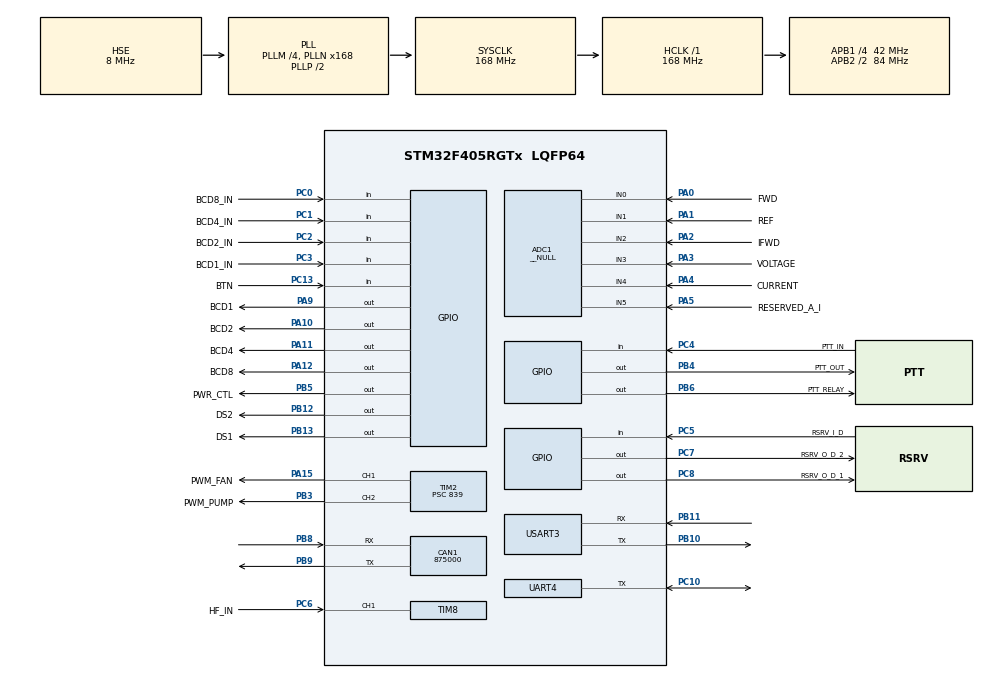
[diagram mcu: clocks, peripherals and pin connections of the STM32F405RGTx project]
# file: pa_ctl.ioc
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ADC1.Channel-0\#ChannelRegularConversion=ADC_CHANNEL_0
ADC1.Channel-5\#ChannelRegularConversion=ADC_CHANNEL_1
ADC1.Channel-6\#ChannelRegularConversion=ADC_CHANNEL_2
ADC1.Channel-7\#ChannelRegularConversion=ADC_CHANNEL_3
ADC1.Channel-8\#ChannelRegularConversion=ADC_CHANNEL_4
ADC1.Channel-9\#ChannelRegularConversion=ADC_CHANNEL_5
ADC1.ContinuousConvMode=ENABLE
ADC1.DMAContinuousRequests=ENABLE
ADC1.Mode=__NULL
ADC1.NbrOfConversion=6
ADC1.NbrOfConversionFlag=1
ADC1.Rank-0\#ChannelRegularConversion=1
ADC1.Rank-5\#ChannelRegularConversion=2
ADC1.Rank-6\#ChannelRegularConversion=3
ADC1.Rank-7\#ChannelRegularConversion=4
ADC1.Rank-8\#ChannelRegularConversion=5
ADC1.Rank-9\#ChannelRegularConversion=6
ADC1.SamplingTime-0\#ChannelRegularConversion=ADC_SAMPLETIME_15CYCLES
ADC1.SamplingTime-5\#ChannelRegularConversion=ADC_SAMPLETIME_15CYCLES
ADC1.SamplingTime-6\#ChannelRegularConversion=ADC_SAMPLETIME_15CYCLES
ADC1.SamplingTime-7\#ChannelRegularConversion=ADC_SAMPLETIME_15CYCLES
ADC1.SamplingTime-8\#ChannelRegularConversion=ADC_SAMPLETIME_15CYCLES
ADC1.SamplingTime-9\#ChannelRegularConversion=ADC_SAMPLETIME_15CYCLES
ADC1.master=1
CAN1.CalculateBaudRate=875000
CAN1.CalculateTimeBit=1142
CAN1.CalculateTimeQuantum=380.95238095238096
Dma.ADC1.0.Direction=DMA_PERIPH_TO_MEMORY
Dma.ADC1.0.FIFOMode=DMA_FIFOMODE_DISABLE
Dma.ADC1.0.Instance=DMA2_Stream0
Dma.ADC1.0.MemDataAlignment=DMA_MDATAALIGN_HALFWORD
Dma.ADC1.0.MemInc=DMA_MINC_ENABLE
Dma.ADC1.0.Mode=DMA_CIRCULAR
Dma.ADC1.0.PeriphDataAlignment=DMA_PDATAALIGN_HALFWORD
Dma.ADC1.0.PeriphInc=DMA_PINC_DISABLE
Dma.ADC1.0.Priority=DMA_PRIORITY_MEDIUM
Dma.Request0=ADC1
Dma.Request1=USART3_RX
Dma.USART3_RX.1.Direction=DMA_PERIPH_TO_MEMORY
Dma.USART3_RX.1.FIFOMode=DMA_FIFOMODE_DISABLE
Dma.USART3_RX.1.Instance=DMA1_Stream1
Dma.USART3_RX.1.MemDataAlignment=DMA_MDATAALIGN_BYTE
Dma.USART3_RX.1.MemInc=DMA_MINC_ENABLE
Dma.USART3_RX.1.Mode=DMA_NORMAL
Dma.USART3_RX.1.PeriphDataAlignment=DMA_PDATAALIGN_BYTE
Dma.USART3_RX.1.PeriphInc=DMA_PINC_DISABLE
Dma.USART3_RX.1.Priority=DMA_PRIORITY_LOW
Mcu.Family=STM32F4
Mcu.Name=STM32F405RGTx
Mcu.Package=LQFP64
NVIC.DMA1_Stream1_IRQn=true\:0\:0\:false\:false\:true\:false\:true\:true
NVIC.DMA2_Stream0_IRQn=true\:0\:0\:false\:false\:true\:false\:true\:true
NVIC.PriorityGroup=NVIC_PRIORITYGROUP_4
NVIC.TIM1_BRK_TIM9_IRQn=true\:0\:0\:false\:false\:true\:true\:true\:true
NVIC.TIM4_IRQn=true\:0\:0\:true\:false\:true\:true\:true\:true
NVIC.TIM5_IRQn=true\:0\:0\:true\:false\:true\:true\:true\:true
NVIC.TIM8_BRK_TIM12_IRQn=true\:0\:0\:true\:false\:true\:true\:true\:true
NVIC.USART3_IRQn=true\:0\:0\:true\:false\:true\:true\:true\:true
PA0-WKUP.GPIO_Label=FWD
PA0-WKUP.Signal=ADCx_IN0
PA1.GPIO_Label=REF
PA1.Signal=ADCx_IN1
PA10.GPIO_Label=BCD2
PA10.Signal=GPIO_Output
PA11.GPIO_Label=BCD4
PA11.Signal=GPIO_Output
PA12.GPIO_Label=BCD8
PA12.Signal=GPIO_Output
PA15.GPIO_Label=PWM_FAN
PA15.Signal=S_TIM2_CH1_ETR
PA2.GPIO_Label=IFWD
PA2.Signal=ADCx_IN2
PA3.GPIO_Label=VOLTAGE
PA3.Signal=ADCx_IN3
PA4.GPIO_Label=CURRENT
PA4.Signal=ADCx_IN4
PA5.GPIO_Label=RESERVED_A_I
PA5.Signal=ADCx_IN5
PA9.GPIO_Label=BCD1
PA9.Signal=GPIO_Output
PB10.Mode=Asynchronous
PB10.Signal=USART3_TX
PB11.Mode=Asynchronous
PB11.Signal=USART3_RX
PB12.GPIO_Label=DS2
PB12.GPIO_ModeDefaultOutputPP=GPIO_MODE_OUTPUT_OD
PB12.GPIO_PuPd=GPIO_NOPULL
PB12.Signal=GPIO_Output
PB13.GPIO_Label=DS1
PB13.GPIO_ModeDefaultOutputPP=GPIO_MODE_OUTPUT_OD
PB13.GPIO_PuPd=GPIO_NOPULL
PB13.Signal=GPIO_Output
PB3.GPIO_Label=PWM_PUMP
PB3.Signal=S_TIM2_CH2
PB4.GPIO_Label=PTT_OUT
PB4.Signal=GPIO_Output
PB5.GPIO_Label=PWR_CTL
PB5.Signal=GPIO_Output
PB6.GPIO_Label=PTT_RELAY
PB6.Signal=GPIO_Output
PB8.Mode=CAN_Activate
PB8.Signal=CAN1_RX
PB9.Mode=CAN_Activate
PB9.Signal=CAN1_TX
PC0.GPIO_Label=BCD8_IN
PC0.Signal=GPIO_Input
PC1.GPIO_Label=BCD4_IN
PC1.Signal=GPIO_Input
PC10.Mode=Half_duplex(single_wire_mode)
PC10.Signal=UART4_TX
PC13-ANTI_TAMP.GPIO_Label=BTN
PC13-ANTI_TAMP.GPIO_PuPd=GPIO_PULLDOWN
PC13-ANTI_TAMP.Signal=GPIO_Input
PC14-OSC32_IN.Mode=LSE-External-Oscillator
PC14-OSC32_IN.Signal=RCC_OSC32_IN
PC15-OSC32_OUT.Mode=LSE-External-Oscillator
PC15-OSC32_OUT.Signal=RCC_OSC32_OUT
PC2.GPIO_Label=BCD2_IN
PC2.Signal=GPIO_Input
PC3.GPIO_Label=BCD1_IN
PC3.Signal=GPIO_Input
PC4.GPIO_Label=PTT_IN
PC4.Signal=GPIO_Input
PC5.GPIO_Label=RSRV_I_D
PC5.Signal=GPIO_Input
PC6.GPIO_Label=HF_IN
PC6.Signal=S_TIM8_CH1
PC7.GPIO_Label=RSRV_O_D_2
PC7.Signal=GPIO_Output
PC8.GPIO_Label=RSRV_O_D_1
PC8.Signal=GPIO_Output
PH0-OSC_IN.Mode=HSE-External-Oscillator
PH0-OSC_IN.Signal=RCC_OSC_IN
PH1-OSC_OUT.Mode=HSE-External-Oscillator
PH1-OSC_OUT.Signal=RCC_OSC_OUT
ProjectManager.HeapSize=0x200
ProjectManager.StackSize=0x400
ProjectManager.TargetToolchain=STM32CubeIDE
RCC.48MHZClocksFreq_Value=48000000
RCC.AHBFreq_Value=168000000
RCC.APB1CLKDivider=RCC_HCLK_DIV4
RCC.APB1Freq_Value=42000000
RCC.APB1TimFreq_Value=84000000
RCC.APB2CLKDivider=RCC_HCLK_DIV2
RCC.APB2Freq_Value=84000000
RCC.APB2TimFreq_Value=168000000
RCC.CortexFreq_Value=168000000
RCC.HCLKFreq_Value=168000000
RCC.HSE_VALUE=8000000
RCC.HSI_VALUE=16000000
RCC.PLLM=4
RCC.PLLN=168
RCC.PLLQ=7
RCC.PLLSourceVirtual=RCC_PLLSOURCE_HSE
RCC.SYSCLKFreq_VALUE=168000000
RCC.SYSCLKSource=RCC_SYSCLKSOURCE_PLLCLK
RCC.VCOOutputFreq_Value=336000000
SH.ADCx_IN0.0=ADC1_IN0,IN0
SH.ADCx_IN1.0=ADC1_IN1,IN1
SH.ADCx_IN2.0=ADC1_IN2,IN2
SH.ADCx_IN3.0=ADC1_IN3,IN3
SH.ADCx_IN4.0=ADC1_IN4,IN4
SH.ADCx_IN5.0=ADC1_IN5,IN5
SH.S_TIM2_CH1_ETR.0=TIM2_CH1,PWM Generation1 CH1
SH.S_TIM2_CH2.0=TIM2_CH2,PWM Generation2 CH2
SH.S_TIM8_CH1.0=TIM8_CH1,TriggerSource_TI1FP1
TIM12.Period=65535
TIM12.Prescaler=83
TIM2.Channel-PWM\ Generation1\ CH1=TIM_CHANNEL_1
TIM2.Channel-PWM\ Generation2\ CH2=TIM_CHANNEL_2
TIM2.Period=9
TIM2.Prescaler=839
TIM3.Period=499
TIM3.Prescaler=83
TIM4.Period=899
TIM4.Prescaler=41999
TIM5.AutoReloadPreload=TIM_AUTORELOAD_PRELOAD_DISABLE
TIM5.Period=3
TIM5.Prescaler=419
TIM9.Prescaler=167
UART4.VirtualMode=Asynchronous
USART3.VirtualMode=VM_ASYNC
VP_TIM12_VS_ClockSourceINT.Mode=Internal
VP_TIM2_VS_ClockSourceINT.Mode=Internal
VP_TIM3_VS_ClockSourceINT.Mode=Internal
VP_TIM4_VS_ClockSourceINT.Mode=Internal
VP_TIM5_VS_ClockSourceINT.Mode=Internal
VP_TIM8_VS_ControllerModeClock.Mode=Clock Mode
VP_TIM9_VS_ClockSourceINT.Mode=Internal
board=custom

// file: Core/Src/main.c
/* USER CODE BEGIN Header */
/**
  ******************************************************************************
  * @file           : main.c
  * @brief          : Main program body
  ******************************************************************************
  * @attention
  *
  * Copyright (c) 2025 STMicroelectronics.
  * All rights reserved.
  *
  * This software is licensed under terms that can be found in the LICENSE file
  * in the root directory of this software component.
  * If no LICENSE file comes with this software, it is provided AS-IS.
  *
  ******************************************************************************
  */
/* USER CODE END Header */
#include "main.h"

/* USER CODE BEGIN Includes */
#include "adc.h"
#include "uart_handler.h"
#include "variables.h"
#include "flash_storage.h"
#include "pwm.h"
#include "process_data.h"
#include "set_functions.h"
#include "frequency_measurement.h"
#include "ds18b20.h"
#include "ow.h"
#include <string.h>

/* USER CODE END Includes */

ADC_HandleTypeDef hadc1;
DMA_HandleTypeDef hdma_adc1;

CAN_HandleTypeDef hcan1;

IWDG_HandleTypeDef hiwdg;

TIM_HandleTypeDef htim2;
TIM_HandleTypeDef htim3;
TIM_HandleTypeDef htim4;
TIM_HandleTypeDef htim5;
TIM_HandleTypeDef htim8;
TIM_HandleTypeDef htim9;
TIM_HandleTypeDef htim12;

UART_HandleTypeDef huart4;
UART_HandleTypeDef huart3;
DMA_HandleTypeDef hdma_usart3_rx;

void SystemClock_Config(void);
static void MX_GPIO_Init(void);
static void MX_DMA_Init(void);
static void MX_ADC1_Init(void);
static void MX_TIM4_Init(void);
static void MX_USART3_UART_Init(void);
static void MX_UART4_Init(void);
static void MX_TIM5_Init(void);
static void MX_TIM3_Init(void);
static void MX_TIM8_Init(void);
static void MX_TIM2_Init(void);
static void MX_TIM12_Init(void);
static void MX_TIM9_Init(void);
static void MX_CAN1_Init(void);
/* USER CODE BEGIN PFP */
static void MX_IWDG_Init(void);
/* USER CODE END PFP */

/* USER CODE BEGIN 0 */

ds18b20_t ds18;
ds18b20_t ds18_w;

#define ZERO_CONFIRM_COUNT 3
static uint8_t plate_zero_count = 0;
static uint8_t water_zero_count = 0;

volatile uint8_t tim4_flag = 0;
volatile uint8_t telemetry_flag = 0;

void HAL_TIM_PeriodElapsedCallback(TIM_HandleTypeDef *htim)
{
    // TIM5 (50 kHz protection tick) is handled by a bare TIM5_IRQHandler in
    // stm32f4xx_it.c that calls process_data() directly — not routed through HAL.
    if (htim->Instance == TIM4)
    {
    	telemetry_flag = 1;
        static uint8_t counter = 0;
        tim4_flag = (counter == 1);
        counter = (counter + 1) % 2;
    }
    if(htim->Instance == TIM9)
    {
    	ow_callback(&ds18.ow);
    }
    if(htim->Instance == TIM12)
    {
    	ow_callback(&ds18_w.ow);
    }
}

static bool confirm_temp(float new_temp, uint8_t *zero_counter)
{
    if (new_temp == 0.0f) {
        (*zero_counter)++;
        if (*zero_counter >= ZERO_CONFIRM_COUNT) {
            return true;
        }
        return false;
    }

    *zero_counter = 0;
    return true;
}
/* USER CODE END 0 */

int main(void)
{

  /* MCU Configuration--------------------------------------------------------*/

  /* Reset of all peripherals, Initializes the Flash interface and the Systick. */
  HAL_Init();

  /* Configure the system clock */
  SystemClock_Config();

  /* Initialize all configured peripherals */
  MX_GPIO_Init();
  MX_DMA_Init();
  MX_ADC1_Init();
  MX_TIM4_Init();
  MX_USART3_UART_Init();
  MX_UART4_Init();
  MX_TIM5_Init();
  MX_TIM3_Init();
  MX_TIM8_Init();
  MX_TIM2_Init();
  MX_TIM12_Init();
  MX_TIM9_Init();
  MX_CAN1_Init();
  /* USER CODE BEGIN 2 */
  HAL_ADC_Start_DMA(&hadc1, (uint32_t*)adc_dma_buffer, 6);
  // Circular DMA keeps adc_dma_buffer fresh on its own. Silence the per-scan
  // transfer-complete / half-transfer interrupts (~130 kHz) — process_data() reads
  // the buffer directly at 50 kHz. Keep TE (transfer error) so DMA faults are caught.
  __HAL_DMA_DISABLE_IT(&hdma_adc1, DMA_IT_TC | DMA_IT_HT);

  // Interrupt priorities (group 4 = 4 preempt bits, 0 sub). The 50 kHz protection
  // loop (TIM5) MUST be able to preempt everything else so its sampling jitter stays
  // bounded — this is a kW amplifier and protection latency is safety-critical.
  //   0 = TIM5 (protection)          highest
  //   1 = TIM9/TIM12 (One-Wire bit timing)
  //   2 = UART / RX-DMA / TIM4 (telemetry & command housekeeping)
  //   3 = ADC DMA (error only)
  HAL_NVIC_SetPriority(TIM5_IRQn,            0, 0);
  HAL_NVIC_SetPriority(TIM1_BRK_TIM9_IRQn,   1, 0);
  HAL_NVIC_SetPriority(TIM8_BRK_TIM12_IRQn,  1, 0);
  HAL_NVIC_SetPriority(USART3_IRQn,          2, 0);
  HAL_NVIC_SetPriority(DMA1_Stream1_IRQn,    2, 0);
  HAL_NVIC_SetPriority(TIM4_IRQn,            2, 0);
  HAL_NVIC_SetPriority(DMA2_Stream0_IRQn,    3, 0);

  Flash_LoadAll();
  strncpy(current_band, default_band, sizeof(current_band));
  current_band[sizeof(current_band) - 1] = '\0';
  current_band_id = band_from_string(current_band);
  set_band_gpio(current_band);
  process_data_on_config_change();

  HAL_TIM_Base_Start_IT(&htim5);
  HAL_TIM_Base_Start_IT(&htim4);

  HAL_TIM_IC_Init(&htim8);

  HAL_TIM_PWM_Start(&htim2, TIM_CHANNEL_1);
  HAL_TIM_PWM_Start(&htim2, TIM_CHANNEL_2);

  //auto_pwm_pump = false;
  //auto_pwm_fan = false;
  //pwm_pump = 10;
  //pwm_cooler = 10;
  //PWM_SetPumpDuty(pwm_pump);
  //PWM_SetFanDuty(pwm_cooler);

  uart_receive_init();
  uart_receive_start();

  //plate temp sensor
  ow_init_t ow_init_struct;
  ow_init_struct.tim_handle = &htim9;
  //ow_init_struct.tim_handle = NULL;
  ow_init_struct.gpio = DS1_GPIO_Port;
  ow_init_struct.pin = DS1_Pin;
  ow_init_struct.tim_cb = NULL;
  ow_init_struct.done_cb = NULL;
  //ow_init_struct.rom_id_filter = DS18B20_ID;
  ds18b20_init(&ds18, &ow_init_struct);

  // Update ROM IDs for all devices
  //ds18b20_update_rom_id(&ds18);
  //while(ds18b20_is_busy(&ds18));

  // Configure alarm thresholds and resolution
  ds18b20_config_t ds18_conf = {
      .alarm_high = 50,
      .alarm_low = -50,
      .cnv_bit = DS18B20_CNV_BIT_12
  };
  ds18b20_conf(&ds18, &ds18_conf);
  while(ds18b20_is_busy(&ds18));

  //water temp sensor
  ow_init_t ow_init_struct_w;
  ow_init_struct_w.tim_handle = &htim12;
  ow_init_struct_w.gpio = DS2_GPIO_Port;
  ow_init_struct_w.pin = DS2_Pin;
  ow_init_struct_w.tim_cb = NULL;
  ow_init_struct_w.done_cb = NULL;
  ds18b20_init(&ds18_w, &ow_init_struct_w);

  ds18b20_config_t ds18_conf_w = {
      .alarm_high = 50,
      .alarm_low = -50,
      .cnv_bit = DS18B20_CNV_BIT_12
  };
  ds18b20_conf(&ds18_w, &ds18_conf_w);
  while(ds18b20_is_busy(&ds18_w));

  HAL_UART_Transmit(&huart4, (uint8_t*)"pa_ctl_light started\r\n", 22, HAL_MAX_DELAY);

  bool ds_cycle = false;
  bool ds_cycle_w = false;
  ds18b20_cnv(&ds18);
  ds18b20_cnv(&ds18_w);

  // Start the independent watchdog LAST, after all blocking init (DS18B20 conf/convert
  // busy-waits) has completed — otherwise those could trip it before the loop begins.
  // ~1 s window; the main loop refreshes it every iteration. If the loop ever hangs the
  // MCU resets into a safe state (enabled=false, PTT off). Flash_SaveAll() widens the
  // window for the duration of a sector erase (see flash_storage.c).
  MX_IWDG_Init();
  /* USER CODE END 2 */

  /* Infinite loop */
  /* USER CODE BEGIN WHILE */
  while (1)
  {
	  HAL_IWDG_Refresh(&hiwdg);

	  if (!startup_complete && HAL_GetTick() >= 2000) {
	      startup_complete = true;
	  }

	    if (telemetry_flag) {
	        telemetry_flag = 0;
	        send_telemetry();
	    }

	  if (getfreq_flag) {
	      if (!ptt || !protection_enabled) {
	          // PTT released / disabled / alarmed before a band was locked — abandon the
	          // pending measurement so the next key-up starts a clean search.
	          // Protection switched off mid-search: drop the band check too (the relay
	          // then closes) without touching the LPF.
	          getfreq_flag = false;
	      } else {
	          uint32_t freq = 0;
	          freq_status_t st = getFrequencyBand(&freq);

	          if (st == FREQ_LOCKED) {
	              if (autoband) {
	                  // Known-valid band: select it and drive the LPF BCD lines, then
	                  // release the relay gate.
	                  set_band_from_frequency(freq);
	                  set_band_gpio(current_band);
	              } else {
	                  const char *band = get_band_from_frequency(freq);
	                  if (strcmp(band, current_band) != 0) {
	                      trigger_alarm();
	                      strcpy(alert_reason, "wrong_band");
	                  }
	              }
	              getfreq_flag = false;   // relay may now close
	          } else if (st == FREQ_OUT_OF_BAND) {
	              // RF present but stably outside every ham band — never key the relay.
	              trigger_alarm();
	              strcpy(alert_reason, autoband ? "band" : "unk_freq_on_tx");
	              getfreq_flag = false;
	          }
	          // FREQ_NO_SIGNAL / FREQ_UNSTABLE: keep getfreq_flag set, hold the relay open
	          // and retry next iteration. This is the normal SSB "keyed up, not speaking
	          // yet" case — no alarm, no LPF change until real RF identifies the band.
	      }
	  }
	    if (tim4_flag) {
	        tim4_flag = 0;

	        // ===== Датчик платы =====
	        if (!ds18b20_is_cnv_done(&ds18)) {
	            // конверсия ещё идёт
	        }
	        else if (ds18b20_is_busy(&ds18)) {
	            // OW шина занята
	        }
	        else {
	            if (!ds_cycle) {
	                ow_err_t err = ds18b20_req_read(&ds18);
	                if (err == OW_ERR_NONE) {
	                    ds_cycle = true;
	                }
	            } else {
	                int16_t t = ds18b20_read_c(&ds18);
	                ow_err_t err2 = ds18b20_last_error(&ds18);

	                if (t != DS18B20_ERROR && err2 == OW_ERR_NONE) {
	                    float new_temp = (float)t / 100.0f;

	                    if (confirm_temp(new_temp, &plate_zero_count)) {
	                        plate_temp = new_temp;

	                        if (auto_pwm_pump) {
	                            pwm_pump = calculate_pwm_percentage(plate_temp,
	                                min_pump_speed_temp, max_pump_speed_temp);
	                            PWM_SetPumpDuty(pwm_pump);
	                        }
	                        if (auto_pwm_fan) {
	                            pwm_cooler = calculate_pwm_percentage(plate_temp,
	                                min_fan_speed_temp, max_fan_speed_temp);
	                            PWM_SetFanDuty(pwm_cooler);
	                        }
	                    }
	                }

	                ds_cycle = false;
	                ds18b20_cnv(&ds18);
	            }
	        }

	        // ===== Датчик воды =====
	        if (!ds18b20_is_cnv_done(&ds18_w)) {
	            // конверсия ещё идёт
	        }
	        else if (ds18b20_is_busy(&ds18_w)) {
	            // OW шина занята
	        }
	        else {
	            if (!ds_cycle_w) {
	                ow_err_t err = ds18b20_req_read(&ds18_w);
	                if (err == OW_ERR_NONE) {
	                    ds_cycle_w = true;
	                }
	            } else {
	                int16_t t = ds18b20_read_c(&ds18_w);
	                ow_err_t err2 = ds18b20_last_error(&ds18_w);

	                if (t != DS18B20_ERROR && err2 == OW_ERR_NONE) {
	                    float new_temp = (float)t / 100.0f;

	                    if (confirm_temp(new_temp, &water_zero_count)) {
	                        water_temp = new_temp;
	                    }
	                }

	                ds_cycle_w = false;
	                ds18b20_cnv(&ds18_w);
	            }
	        }
	    }
	  if (uart_data_ready) {
	      uart_data_ready = false;
	      process_received_data();
	  }
    /* USER CODE END WHILE */

  }
}

void SystemClock_Config(void)
{
  RCC_OscInitTypeDef RCC_OscInitStruct = {0};
  RCC_ClkInitTypeDef RCC_ClkInitStruct = {0};

  /** Configure the main internal regulator output voltage
  */
  __HAL_RCC_PWR_CLK_ENABLE();
  __HAL_PWR_VOLTAGESCALING_CONFIG(PWR_REGULATOR_VOLTAGE_SCALE1);

  /** Initializes the RCC Oscillators according to the specified parameters
  * in the RCC_OscInitTypeDef structure.
  */
  RCC_OscInitStruct.OscillatorType = RCC_OSCILLATORTYPE_HSE;
  RCC_OscInitStruct.HSEState = RCC_HSE_ON;
  RCC_OscInitStruct.PLL.PLLState = RCC_PLL_ON;
  RCC_OscInitStruct.PLL.PLLSource = RCC_PLLSOURCE_HSE;
  RCC_OscInitStruct.PLL.PLLM = 4;
  RCC_OscInitStruct.PLL.PLLN = 168;
  RCC_OscInitStruct.PLL.PLLP = RCC_PLLP_DIV2;
  RCC_OscInitStruct.PLL.PLLQ = 7;
  if (HAL_RCC_OscConfig(&RCC_OscInitStruct) != HAL_OK)
  {
    Error_Handler();
  }

  /** Initializes the CPU, AHB and APB buses clocks
  */
  RCC_ClkInitStruct.ClockType = RCC_CLOCKTYPE_HCLK|RCC_CLOCKTYPE_SYSCLK
                              |RCC_CLOCKTYPE_PCLK1|RCC_CLOCKTYPE_PCLK2;
  RCC_ClkInitStruct.SYSCLKSource = RCC_SYSCLKSOURCE_PLLCLK;
  RCC_ClkInitStruct.AHBCLKDivider = RCC_SYSCLK_DIV1;
  RCC_ClkInitStruct.APB1CLKDivider = RCC_HCLK_DIV4;
  RCC_ClkInitStruct.APB2CLKDivider = RCC_HCLK_DIV2;

  if (HAL_RCC_ClockConfig(&RCC_ClkInitStruct, FLASH_LATENCY_5) != HAL_OK)
  {
    Error_Handler();
  }
}

static void MX_ADC1_Init(void)
{

  ADC_ChannelConfTypeDef sConfig = {0};

  /** Configure the global features of the ADC (Clock, Resolution, Data Alignment and number of conversion)
  */
  hadc1.Instance = ADC1;
  hadc1.Init.ClockPrescaler = ADC_CLOCK_SYNC_PCLK_DIV4;
  hadc1.Init.Resolution = ADC_RESOLUTION_12B;
  hadc1.Init.ScanConvMode = ENABLE;
  hadc1.Init.ContinuousConvMode = ENABLE;
  hadc1.Init.DiscontinuousConvMode = DISABLE;
  hadc1.Init.ExternalTrigConvEdge = ADC_EXTERNALTRIGCONVEDGE_NONE;
  hadc1.Init.ExternalTrigConv = ADC_SOFTWARE_START;
  hadc1.Init.DataAlign = ADC_DATAALIGN_RIGHT;
  hadc1.Init.NbrOfConversion = 6;
  hadc1.Init.DMAContinuousRequests = ENABLE;
  hadc1.Init.EOCSelection = ADC_EOC_SINGLE_CONV;
  if (HAL_ADC_Init(&hadc1) != HAL_OK)
  {
    Error_Handler();
  }

  /** Configure for the selected ADC regular channel its corresponding rank in the sequencer and its sample time.
  */
  sConfig.Channel = ADC_CHANNEL_0;
  sConfig.Rank = 1;
  sConfig.SamplingTime = ADC_SAMPLETIME_15CYCLES;
  if (HAL_ADC_ConfigChannel(&hadc1, &sConfig) != HAL_OK)
  {
    Error_Handler();
  }

  /** Configure for the selected ADC regular channel its corresponding rank in the sequencer and its sample time.
  */
  sConfig.Channel = ADC_CHANNEL_1;
  sConfig.Rank = 2;
  if (HAL_ADC_ConfigChannel(&hadc1, &sConfig) != HAL_OK)
  {
    Error_Handler();
  }

  /** Configure for the selected ADC regular channel its corresponding rank in the sequencer and its sample time.
  */
  sConfig.Channel = ADC_CHANNEL_2;
  sConfig.Rank = 3;
  if (HAL_ADC_ConfigChannel(&hadc1, &sConfig) != HAL_OK)
  {
    Error_Handler();
  }

  /** Configure for the selected ADC regular channel its corresponding rank in the sequencer and its sample time.
  */
  sConfig.Channel = ADC_CHANNEL_3;
  sConfig.Rank = 4;
  if (HAL_ADC_ConfigChannel(&hadc1, &sConfig) != HAL_OK)
  {
    Error_Handler();
  }

  /** Configure for the selected ADC regular channel its corresponding rank in the sequencer and its sample time.
  */
  sConfig.Channel = ADC_CHANNEL_4;
  sConfig.Rank = 5;
  if (HAL_ADC_ConfigChannel(&hadc1, &sConfig) != HAL_OK)
  {
    Error_Handler();
  }

  /** Configure for the selected ADC regular channel its corresponding rank in the sequencer and its sample time.
  */
  sConfig.Channel = ADC_CHANNEL_5;
  sConfig.Rank = 6;
  if (HAL_ADC_ConfigChannel(&hadc1, &sConfig) != HAL_OK)
  {
    Error_Handler();
  }

}

static void MX_CAN1_Init(void)
{

  hcan1.Instance = CAN1;
  hcan1.Init.Prescaler = 16;
  hcan1.Init.Mode = CAN_MODE_NORMAL;
  hcan1.Init.SyncJumpWidth = CAN_SJW_1TQ;
  hcan1.Init.TimeSeg1 = CAN_BS1_1TQ;
  hcan1.Init.TimeSeg2 = CAN_BS2_1TQ;
  hcan1.Init.TimeTriggeredMode = DISABLE;
  hcan1.Init.AutoBusOff = DISABLE;
  hcan1.Init.AutoWakeUp = DISABLE;
  hcan1.Init.AutoRetransmission = DISABLE;
  hcan1.Init.ReceiveFifoLocked = DISABLE;
  hcan1.Init.TransmitFifoPriority = DISABLE;
  if (HAL_CAN_Init(&hcan1) != HAL_OK)
  {
    Error_Handler();
  }

}

static void MX_TIM2_Init(void)
{

  TIM_ClockConfigTypeDef sClockSourceConfig = {0};
  TIM_MasterConfigTypeDef sMasterConfig = {0};
  TIM_OC_InitTypeDef sConfigOC = {0};

  htim2.Instance = TIM2;
  htim2.Init.Prescaler = 839;
  htim2.Init.CounterMode = TIM_COUNTERMODE_UP;
  htim2.Init.Period = 9;
  htim2.Init.ClockDivision = TIM_CLOCKDIVISION_DIV1;
  htim2.Init.AutoReloadPreload = TIM_AUTORELOAD_PRELOAD_DISABLE;
  if (HAL_TIM_Base_Init(&htim2) != HAL_OK)
  {
    Error_Handler();
  }
  sClockSourceConfig.ClockSource = TIM_CLOCKSOURCE_INTERNAL;
  if (HAL_TIM_ConfigClockSource(&htim2, &sClockSourceConfig) != HAL_OK)
  {
    Error_Handler();
  }
  if (HAL_TIM_PWM_Init(&htim2) != HAL_OK)
  {
    Error_Handler();
  }
  sMasterConfig.MasterOutputTrigger = TIM_TRGO_RESET;
  sMasterConfig.MasterSlaveMode = TIM_MASTERSLAVEMODE_DISABLE;
  if (HAL_TIMEx_MasterConfigSynchronization(&htim2, &sMasterConfig) != HAL_OK)
  {
    Error_Handler();
  }
  sConfigOC.OCMode = TIM_OCMODE_PWM1;
  sConfigOC.Pulse = 0;
  sConfigOC.OCPolarity = TIM_OCPOLARITY_HIGH;
  sConfigOC.OCFastMode = TIM_OCFAST_DISABLE;
  if (HAL_TIM_PWM_ConfigChannel(&htim2, &sConfigOC, TIM_CHANNEL_1) != HAL_OK)
  {
    Error_Handler();
  }
  if (HAL_TIM_PWM_ConfigChannel(&htim2, &sConfigOC, TIM_CHANNEL_2) != HAL_OK)
  {
    Error_Handler();
  }
  HAL_TIM_MspPostInit(&htim2);

}

static void MX_TIM3_Init(void)
{

  TIM_ClockConfigTypeDef sClockSourceConfig = {0};
  TIM_MasterConfigTypeDef sMasterConfig = {0};

  htim3.Instance = TIM3;
  htim3.Init.Prescaler = 83;
  htim3.Init.CounterMode = TIM_COUNTERMODE_UP;
  htim3.Init.Period = 499;
  htim3.Init.ClockDivision = TIM_CLOCKDIVISION_DIV1;
  htim3.Init.AutoReloadPreload = TIM_AUTORELOAD_PRELOAD_DISABLE;
  if (HAL_TIM_Base_Init(&htim3) != HAL_OK)
  {
    Error_Handler();
  }
  sClockSourceConfig.ClockSource = TIM_CLOCKSOURCE_INTERNAL;
  if (HAL_TIM_ConfigClockSource(&htim3, &sClockSourceConfig) != HAL_OK)
  {
    Error_Handler();
  }
  sMasterConfig.MasterOutputTrigger = TIM_TRGO_RESET;
  sMasterConfig.MasterSlaveMode = TIM_MASTERSLAVEMODE_DISABLE;
  if (HAL_TIMEx_MasterConfigSynchronization(&htim3, &sMasterConfig) != HAL_OK)
  {
    Error_Handler();
  }

}

static void MX_TIM4_Init(void)
{

  TIM_ClockConfigTypeDef sClockSourceConfig = {0};
  TIM_MasterConfigTypeDef sMasterConfig = {0};

  htim4.Instance = TIM4;
  htim4.Init.Prescaler = 41999;
  htim4.Init.CounterMode = TIM_COUNTERMODE_UP;
  htim4.Init.Period = 899;
  htim4.Init.ClockDivision = TIM_CLOCKDIVISION_DIV1;
  htim4.Init.AutoReloadPreload = TIM_AUTORELOAD_PRELOAD_DISABLE;
  if (HAL_TIM_Base_Init(&htim4) != HAL_OK)
  {
    Error_Handler();
  }
  sClockSourceConfig.ClockSource = TIM_CLOCKSOURCE_INTERNAL;
  if (HAL_TIM_ConfigClockSource(&htim4, &sClockSourceConfig) != HAL_OK)
  {
    Error_Handler();
  }
  sMasterConfig.MasterOutputTrigger = TIM_TRGO_RESET;
  sMasterConfig.MasterSlaveMode = TIM_MASTERSLAVEMODE_DISABLE;
  if (HAL_TIMEx_MasterConfigSynchronization(&htim4, &sMasterConfig) != HAL_OK)
  {
    Error_Handler();
  }

}

static void MX_TIM5_Init(void)
{

  TIM_ClockConfigTypeDef sClockSourceConfig = {0};
  TIM_MasterConfigTypeDef sMasterConfig = {0};

  htim5.Instance = TIM5;
  htim5.Init.Prescaler = 419;
  htim5.Init.CounterMode = TIM_COUNTERMODE_UP;
  htim5.Init.Period = 3;
  htim5.Init.ClockDivision = TIM_CLOCKDIVISION_DIV1;
  htim5.Init.AutoReloadPreload = TIM_AUTORELOAD_PRELOAD_DISABLE;
  if (HAL_TIM_Base_Init(&htim5) != HAL_OK)
  {
    Error_Handler();
  }
  sClockSourceConfig.ClockSource = TIM_CLOCKSOURCE_INTERNAL;
  if (HAL_TIM_ConfigClockSource(&htim5, &sClockSourceConfig) != HAL_OK)
  {
    Error_Handler();
  }
  sMasterConfig.MasterOutputTrigger = TIM_TRGO_RESET;
  sMasterConfig.MasterSlaveMode = TIM_MASTERSLAVEMODE_DISABLE;
  if (HAL_TIMEx_MasterConfigSynchronization(&htim5, &sMasterConfig) != HAL_OK)
  {
    Error_Handler();
  }

}

static void MX_TIM8_Init(void)
{

  TIM_SlaveConfigTypeDef sSlaveConfig = {0};
  TIM_MasterConfigTypeDef sMasterConfig = {0};

  htim8.Instance = TIM8;
  htim8.Init.Prescaler = 0;
  htim8.Init.CounterMode = TIM_COUNTERMODE_UP;
  htim8.Init.Period = 65535;
  htim8.Init.ClockDivision = TIM_CLOCKDIVISION_DIV1;
  htim8.Init.RepetitionCounter = 0;
  htim8.Init.AutoReloadPreload = TIM_AUTORELOAD_PRELOAD_DISABLE;
  if (HAL_TIM_Base_Init(&htim8) != HAL_OK)
  {
    Error_Handler();
  }
  sSlaveConfig.SlaveMode = TIM_SLAVEMODE_EXTERNAL1;
  sSlaveConfig.InputTrigger = TIM_TS_TI1FP1;
  sSlaveConfig.TriggerPolarity = TIM_TRIGGERPOLARITY_RISING;
  sSlaveConfig.TriggerFilter = 0;
  if (HAL_TIM_SlaveConfigSynchro(&htim8, &sSlaveConfig) != HAL_OK)
  {
    Error_Handler();
  }
  sMasterConfig.MasterOutputTrigger = TIM_TRGO_RESET;
  sMasterConfig.MasterSlaveMode = TIM_MASTERSLAVEMODE_DISABLE;
  if (HAL_TIMEx_MasterConfigSynchronization(&htim8, &sMasterConfig) != HAL_OK)
  {
    Error_Handler();
  }
  /* USER CODE BEGIN TIM8_Init 2 */
  __HAL_TIM_DISABLE_IT(&htim8, TIM_IT_UPDATE);
  /* USER CODE END TIM8_Init 2 */

}

static void MX_TIM9_Init(void)
{

  TIM_ClockConfigTypeDef sClockSourceConfig = {0};

  htim9.Instance = TIM9;
  htim9.Init.Prescaler = 167;
  htim9.Init.CounterMode = TIM_COUNTERMODE_UP;
  htim9.Init.Period = 65535;
  htim9.Init.ClockDivision = TIM_CLOCKDIVISION_DIV1;
  htim9.Init.AutoReloadPreload = TIM_AUTORELOAD_PRELOAD_DISABLE;
  if (HAL_TIM_Base_Init(&htim9) != HAL_OK)
  {
    Error_Handler();
  }
  sClockSourceConfig.ClockSource = TIM_CLOCKSOURCE_INTERNAL;
  if (HAL_TIM_ConfigClockSource(&htim9, &sClockSourceConfig) != HAL_OK)
  {
    Error_Handler();
  }

}

static void MX_TIM12_Init(void)
{

  TIM_ClockConfigTypeDef sClockSourceConfig = {0};

  htim12.Instance = TIM12;
  htim12.Init.Prescaler = 83;
  htim12.Init.CounterMode = TIM_COUNTERMODE_UP;
  htim12.Init.Period = 65535;
  htim12.Init.ClockDivision = TIM_CLOCKDIVISION_DIV1;
  htim12.Init.AutoReloadPreload = TIM_AUTORELOAD_PRELOAD_DISABLE;
  if (HAL_TIM_Base_Init(&htim12) != HAL_OK)
  {
    Error_Handler();
  }
  sClockSourceConfig.ClockSource = TIM_CLOCKSOURCE_INTERNAL;
  if (HAL_TIM_ConfigClockSource(&htim12, &sClockSourceConfig) != HAL_OK)
  {
    Error_Handler();
  }

}

static void MX_UART4_Init(void)
{

  huart4.Instance = UART4;
  huart4.Init.BaudRate = 115200;
  huart4.Init.WordLength = UART_WORDLENGTH_8B;
  huart4.Init.StopBits = UART_STOPBITS_1;
  huart4.Init.Parity = UART_PARITY_NONE;
  huart4.Init.Mode = UART_MODE_TX_RX;
  huart4.Init.HwFlowCtl = UART_HWCONTROL_NONE;
  huart4.Init.OverSampling = UART_OVERSAMPLING_16;
  if (HAL_HalfDuplex_Init(&huart4) != HAL_OK)
  {
    Error_Handler();
  }

}

static void MX_USART3_UART_Init(void)
{

  huart3.Instance = USART3;
  huart3.Init.BaudRate = 115200;
  huart3.Init.WordLength = UART_WORDLENGTH_8B;
  huart3.Init.StopBits = UART_STOPBITS_1;
  huart3.Init.Parity = UART_PARITY_NONE;
  huart3.Init.Mode = UART_MODE_TX_RX;
  huart3.Init.HwFlowCtl = UART_HWCONTROL_NONE;
  huart3.Init.OverSampling = UART_OVERSAMPLING_16;
  if (HAL_UART_Init(&huart3) != HAL_OK)
  {
    Error_Handler();
  }

}

static void MX_DMA_Init(void)
{

  /* DMA controller clock enable */
  __HAL_RCC_DMA2_CLK_ENABLE();
  __HAL_RCC_DMA1_CLK_ENABLE();

  /* DMA interrupt init */
  /* DMA1_Stream1_IRQn interrupt configuration */
  HAL_NVIC_SetPriority(DMA1_Stream1_IRQn, 0, 0);
  HAL_NVIC_EnableIRQ(DMA1_Stream1_IRQn);
  /* DMA2_Stream0_IRQn interrupt configuration */
  HAL_NVIC_SetPriority(DMA2_Stream0_IRQn, 0, 0);
  HAL_NVIC_EnableIRQ(DMA2_Stream0_IRQn);

}

static void MX_GPIO_Init(void)
{
  GPIO_InitTypeDef GPIO_InitStruct = {0};

  /* GPIO Ports Clock Enable */
  __HAL_RCC_GPIOC_CLK_ENABLE();
  __HAL_RCC_GPIOH_CLK_ENABLE();
  __HAL_RCC_GPIOA_CLK_ENABLE();
  __HAL_RCC_GPIOB_CLK_ENABLE();

  /*Configure GPIO pin Output Level */
  HAL_GPIO_WritePin(GPIOB, DS2_Pin|DS1_Pin|PTT_OUT_Pin|PWR_CTL_Pin
                          |PTT_RELAY_Pin, GPIO_PIN_RESET);

  /*Configure GPIO pin Output Level */
  HAL_GPIO_WritePin(GPIOC, RSRV_O_D_2_Pin|RSRV_O_D_1_Pin, GPIO_PIN_RESET);

  /*Configure GPIO pin Output Level */
  HAL_GPIO_WritePin(GPIOA, BCD1_Pin|BCD2_Pin|BCD4_Pin|BCD8_Pin, GPIO_PIN_RESET);

  /*Configure GPIO pin : BTN_Pin */
  GPIO_InitStruct.Pin = BTN_Pin;
  GPIO_InitStruct.Mode = GPIO_MODE_INPUT;
  GPIO_InitStruct.Pull = GPIO_PULLDOWN;
  HAL_GPIO_Init(BTN_GPIO_Port, &GPIO_InitStruct);

  /*Configure GPIO pins : BCD8_IN_Pin BCD4_IN_Pin BCD2_IN_Pin BCD1_IN_Pin
                           PTT_IN_Pin RSRV_I_D_Pin */
  GPIO_InitStruct.Pin = BCD8_IN_Pin|BCD4_IN_Pin|BCD2_IN_Pin|BCD1_IN_Pin
                          |PTT_IN_Pin|RSRV_I_D_Pin;
  GPIO_InitStruct.Mode = GPIO_MODE_INPUT;
  GPIO_InitStruct.Pull = GPIO_NOPULL;
  HAL_GPIO_Init(GPIOC, &GPIO_InitStruct);

  /*Configure GPIO pins : DS2_Pin DS1_Pin */
  GPIO_InitStruct.Pin = DS2_Pin|DS1_Pin;
  GPIO_InitStruct.Mode = GPIO_MODE_OUTPUT_OD;
  GPIO_InitStruct.Pull = GPIO_NOPULL;
  GPIO_InitStruct.Speed = GPIO_SPEED_FREQ_LOW;
  HAL_GPIO_Init(GPIOB, &GPIO_InitStruct);

  /*Configure GPIO pins : RSRV_O_D_2_Pin RSRV_O_D_1_Pin */
  GPIO_InitStruct.Pin = RSRV_O_D_2_Pin|RSRV_O_D_1_Pin;
  GPIO_InitStruct.Mode = GPIO_MODE_OUTPUT_PP;
  GPIO_InitStruct.Pull = GPIO_NOPULL;
  GPIO_InitStruct.Speed = GPIO_SPEED_FREQ_LOW;
  HAL_GPIO_Init(GPIOC, &GPIO_InitStruct);

  /*Configure GPIO pins : BCD1_Pin BCD2_Pin BCD4_Pin BCD8_Pin */
  GPIO_InitStruct.Pin = BCD1_Pin|BCD2_Pin|BCD4_Pin|BCD8_Pin;
  GPIO_InitStruct.Mode = GPIO_MODE_OUTPUT_PP;
  GPIO_InitStruct.Pull = GPIO_NOPULL;
  GPIO_InitStruct.Speed = GPIO_SPEED_FREQ_LOW;
  HAL_GPIO_Init(GPIOA, &GPIO_InitStruct);

  /*Configure GPIO pins : PTT_OUT_Pin PWR_CTL_Pin PTT_RELAY_Pin */
  GPIO_InitStruct.Pin = PTT_OUT_Pin|PWR_CTL_Pin|PTT_RELAY_Pin;
  GPIO_InitStruct.Mode = GPIO_MODE_OUTPUT_PP;
  GPIO_InitStruct.Pull = GPIO_NOPULL;
  GPIO_InitStruct.Speed = GPIO_SPEED_FREQ_LOW;
  HAL_GPIO_Init(GPIOB, &GPIO_InitStruct);

}

/* USER CODE BEGIN 4 */

/**
  * @brief Independent watchdog init. Clocked by LSI (~32 kHz).
  *        Prescaler 128 -> 4 ms tick; reload 250 -> ~1.0 s timeout.
  *        HAL_IWDG_Init() also starts it (cannot be stopped afterwards).
  * @note  flash_storage.c temporarily widens the reload to ~16 s around a sector
  *        erase, which stalls code fetch for ~2-4 s and would otherwise reset the MCU.
  */
static void MX_IWDG_Init(void)
{
  hiwdg.Instance = IWDG;
  hiwdg.Init.Prescaler = IWDG_PRESCALER_128;
  hiwdg.Init.Reload = 250;
  if (HAL_IWDG_Init(&hiwdg) != HAL_OK)
  {
    Error_Handler();
  }
}

/* USER CODE END 4 */

void Error_Handler(void)
{
  __disable_irq();
  while (1)
  {
  }
}
